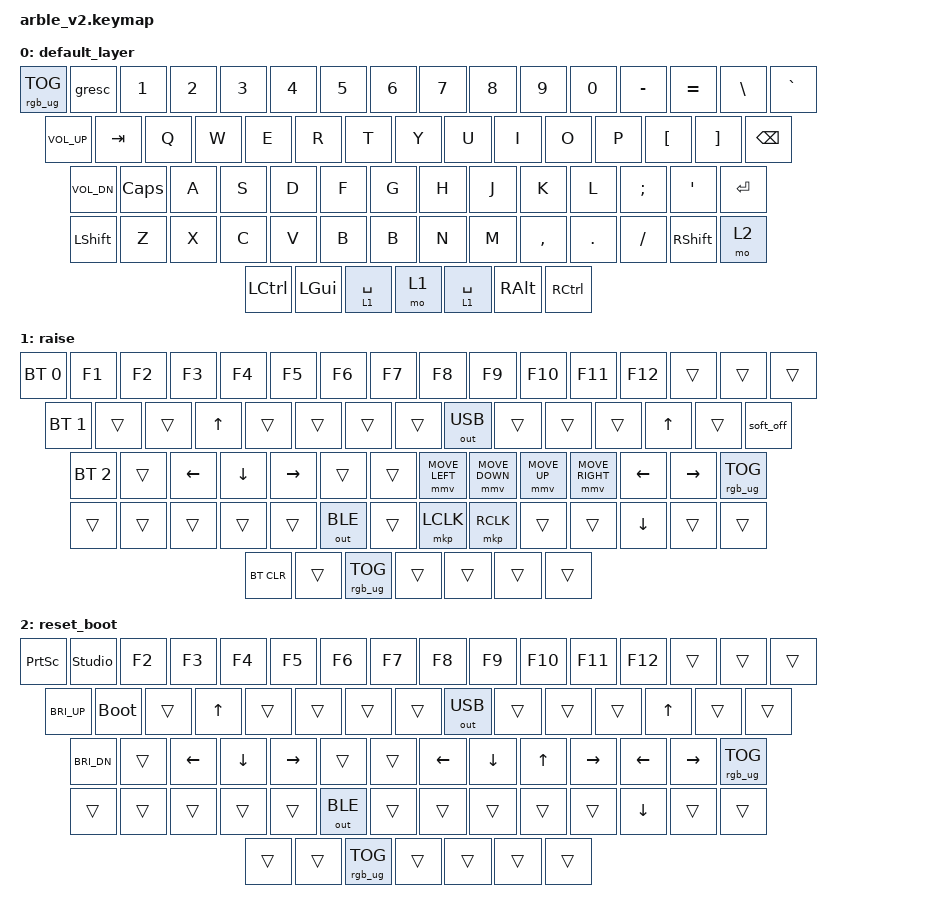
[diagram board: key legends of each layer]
/*
 * Copyright (c) 2021 Nick Winans
 *
 * SPDX-License-Identifier: MIT
 */

#include <behaviors.dtsi>
#include <dt-bindings/zmk/keys.h>
#include <dt-bindings/zmk/rgb.h>
#include <dt-bindings/zmk/bt.h>
#include <dt-bindings/zmk/outputs.h>
#include <dt-bindings/zmk/ext_power.h>
#include <dt-bindings/zmk/pointing.h>

&soft_off {
    hold-time-ms = <2000>;
};

/ {
  keymap {
    compatible = "zmk,keymap";
    
    default_layer {
        // ----------------------------------------------------------------------------------------------------------
        // | K_MUTE  | ESC |  1  |  2  |  3  |  4  |  5  |  6  |  7  |  8  |  9  |  0  |  -  |  =  |  BKSP  |   DEL   |
        // | K_VOL_UP  | TAB  |  Q  |  W  |  E  |  R  |  T  |  Y  |  U  |  I  |  O  |  P  |  [  |  ]  |   "  |    "     | 
        // | K_VOL_DN  | CAPS   |  A  |  S  |  D  |  F  |  G  |  H  |  J  |  K  |  L  |  ;  |  '  |        ENTER        |
        // |     |  SHIFT  |  Z  |  X  |  C  |  V  |  B  |  B  |  N  |  M  |  ,  |  .  |  /  |   SHIFT   |  MO(2) |
        // |     |  CTL  |       |  WIN  |  SPACE  |  MO(1)  |        |  SPACE  |  ALT  |               |   CTL   |
        // ----------------------------------------------------------------------------------------------------------
      bindings = <
        &rgb_ug RGB_TOG  &gresc  &kp N1  &kp N2  &kp N3  &kp N4  &kp N5  &kp N6  &kp N7  &kp N8  &kp N9  &kp N0  &kp MINUS  &kp EQUAL  &kp BSLH  &kp GRAVE
        &kp C_VOL_UP  &kp TAB  &kp Q  &kp W  &kp E  &kp R  &kp T  &kp Y  &kp U  &kp I  &kp O  &kp P  &kp LBKT  &kp RBKT  &kp BSPC
        &kp C_VOL_DN  &kp CLCK  &kp A  &kp S  &kp D  &kp F  &kp G  &kp H  &kp J  &kp K  &kp L  &kp SEMI  &kp SQT  &kp RET
                &kp LSHFT  &kp Z  &kp X  &kp C  &kp V  &kp B  &kp B  &kp N  &kp M  &kp COMMA  &kp DOT  &kp FSLH  &kp RSHFT  &mo 2
                &kp LCTRL  &kp LGUI  &lt 1 SPACE  &mo 1  &lt 1 SPACE  &kp RALT  &kp RCTRL
      >;
    };

    raise {
        // Hold bottom-row MO(1): H/J/K/L move the mouse left/down/up/right.
        // N/M press the left/right mouse buttons.
        // --------------------------------------------------------------------------------------------------------------
        // | BT 0  |     |     |     |     |     |     |     |     |     |     |     |     |     |     |
        // | BT 1  |     |     |     |     |     |     |     |     |     |     |     |     |     |     |
        // | BT 2  |     |     |     |     |     |     |     |     |     |     |     |     |     |
        // |       |     |     |     |     |     |     |     |     |     |     |     |     |     |
        // |       |BT CLR|     |                            RGB TOG                        |     |     | DEL |     |
        // ---------------------------------------------------------------------------------------------------------------
      bindings = <
        &bt BT_SEL 0   &kp F1   &kp F2   &kp F3   &kp F4    &kp F5   &kp F6    &kp F7   &kp F8    &kp F9   &kp F10   &kp F11  &kp F12   &trans   &trans  &trans
        &bt BT_SEL 1  &trans   &trans    &kp UP   &trans    &trans   &trans    &trans   &out OUT_USB      &trans   &trans    &trans   &kp UP   &trans   &soft_off
        &bt BT_SEL 2  &trans   &kp LEFT  &kp DOWN &kp RIGHT &trans    &trans   &mmv MOVE_LEFT  &mmv MOVE_DOWN &mmv MOVE_UP   &mmv MOVE_RIGHT   &kp LEFT   &kp RIGHT    &rgb_ug RGB_TOG
                      &trans   &trans    &trans   &trans    &trans   &out OUT_BLE    &trans   &mkp LCLK    &mkp RCLK   &trans    &trans    &kp DOWN  &trans   &trans
                      &bt BT_CLR   &trans    &rgb_ug RGB_TOG    &trans   &trans    &trans   &trans
      >;
    };
    
    reset_boot {
        // --------------------------------------------------------------------------------------------------------------
        // | PSCRN | RST |     |     |     |     |     |     |     |     |     |     |     |     |     |
        // |C_BRI_UP| BOOT|     |     |     |     |     |     |     |     |     |     |     |     |     |
        // |C_BRI_DN|     |     |     |     |     |     |     |     |     |     |     |     |     |
        // |       |     |     |     |     |     |     |     |     |     |     |     |     |     |
        // |       |     |     |                                               |     |     |     |     |
        // ---------------------------------------------------------------------------------------------------------------
      bindings = <
        &kp PSCRN     &studio_unlock    &kp F2   &kp F3   &kp F4    &kp F5   &kp F6    &kp F7   &kp F8    &kp F9   &kp F10   &kp F11  &kp F12   &trans   &trans  &trans
        &kp C_BRI_UP  &bootloader   &trans    &kp UP   &trans    &trans   &trans    &trans   &out OUT_USB      &trans   &trans    &trans   &kp UP   &trans   &trans
        &kp C_BRI_DN  &trans   &kp LEFT  &kp DOWN &kp RIGHT &trans    &trans   &kp LEFT  &kp DOWN &kp UP   &kp RIGHT   &kp LEFT   &kp RIGHT    &rgb_ug RGB_TOG 
                      &trans   &trans    &trans   &trans    &trans   &out OUT_BLE    &trans   &trans    &trans   &trans    &trans    &kp DOWN  &trans   &trans
                      &trans   &trans    &rgb_ug RGB_TOG    &trans   &trans    &trans   &trans
      >;
    };
  };
};
